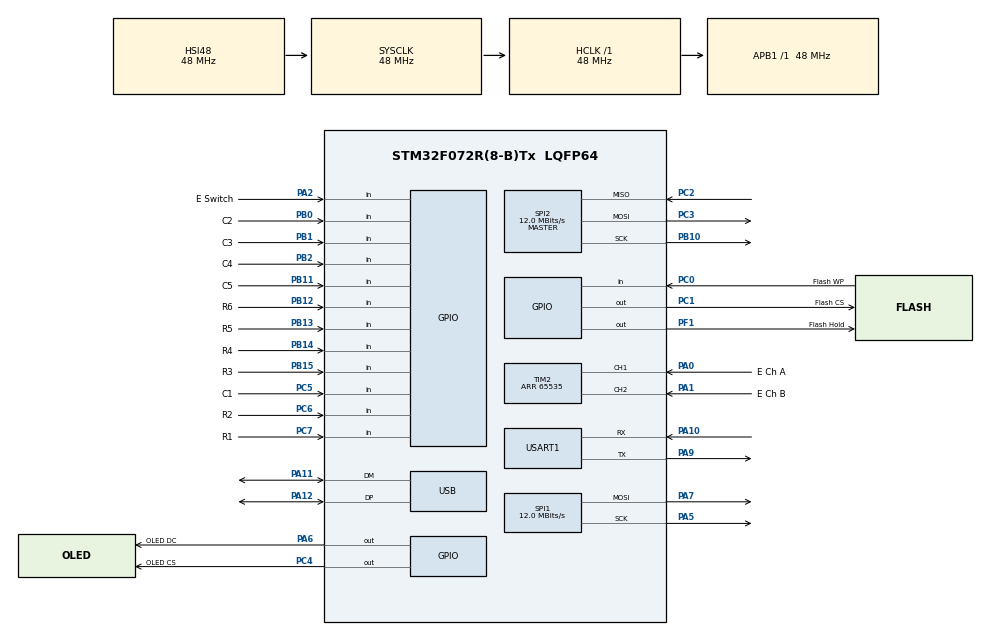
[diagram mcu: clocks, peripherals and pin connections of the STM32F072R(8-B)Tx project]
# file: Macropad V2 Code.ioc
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FREERTOS.Tasks01=defaultTask,24,128,StartDefaultTask,Default,NULL,Dynamic,NULL,NULL;KeypadCheck,8,128,StartKeypadCheck,Default,NULL,Dynamic,NULL,NULL
FREERTOS.configUSE_NEWLIB_REENTRANT=0
Mcu.Family=STM32F0
Mcu.Name=STM32F072R(8-B)Tx
Mcu.Package=LQFP64
NVIC.TIM3_IRQn=true\:3\:0\:false\:false\:true\:false\:false\:true\:true
NVIC.TimeBase=TIM3_IRQn
NVIC.TimeBaseIP=TIM3
NVIC.USB_IRQn=true\:3\:0\:false\:false\:true\:true\:false\:true\:true
PA0.GPIO_Label=E Ch A
PA0.Signal=S_TIM2_CH1_ETR
PA1.GPIO_Label=E Ch B
PA1.Signal=S_TIM2_CH2
PA10.Mode=Asynchronous
PA10.Signal=USART1_RX
PA11.Mode=Device
PA11.Signal=USB_DM
PA12.Mode=Device
PA12.Signal=USB_DP
PA13.Mode=Serial_Wire
PA13.Signal=SYS_SWDIO
PA14.Mode=Serial_Wire
PA14.Signal=SYS_SWCLK
PA2.GPIO_Label=E Switch
PA2.Signal=GPIO_Input
PA5.Mode=TX_Only_Simplex_Unidirect_Master
PA5.Signal=SPI1_SCK
PA6.GPIO_Label=OLED DC
PA6.Signal=GPIO_Output
PA7.Mode=TX_Only_Simplex_Unidirect_Master
PA7.Signal=SPI1_MOSI
PA9.Mode=Asynchronous
PA9.Signal=USART1_TX
PB0.GPIO_Label=C2
PB0.Signal=GPIO_Input
PB1.GPIO_Label=C3
PB1.Signal=GPIO_Input
PB10.Mode=Full_Duplex_Master
PB10.Signal=SPI2_SCK
PB11.GPIO_Label=C5
PB11.Signal=GPIO_Input
PB12.GPIO_Label=R6
PB12.Signal=GPIO_Input
PB13.GPIO_Label=R5
PB13.Signal=GPIO_Input
PB14.GPIO_Label=R4
PB14.Signal=GPIO_Input
PB15.GPIO_Label=R3
PB15.Signal=GPIO_Input
PB2.GPIO_Label=C4
PB2.Signal=GPIO_Input
PC0.GPIO_Label=Flash WP
PC0.Signal=GPIO_Input
PC1.GPIO_Label=Flash CS
PC1.Signal=GPIO_Output
PC2.Mode=Full_Duplex_Master
PC2.Signal=SPI2_MISO
PC3.Mode=Full_Duplex_Master
PC3.Signal=SPI2_MOSI
PC4.GPIO_Label=OLED CS
PC4.Signal=GPIO_Output
PC5.GPIO_Label=C1
PC5.Signal=GPIO_Input
PC6.GPIO_Label=R2
PC6.Signal=GPIO_Input
PC7.GPIO_Label=R1
PC7.Signal=GPIO_Input
PF1-OSC_OUT.GPIO_Label=Flash Hold
PF1-OSC_OUT.Signal=GPIO_Output
ProjectManager.HeapSize=0x200
ProjectManager.StackSize=0x400
ProjectManager.TargetToolchain=STM32CubeIDE
RCC.AHBFreq_Value=48000000
RCC.APB1Freq_Value=48000000
RCC.APB1TimFreq_Value=48000000
RCC.HCLKFreq_Value=48000000
RCC.SYSCLKFreq_VALUE=48000000
RCC.SYSCLKSource=RCC_SYSCLKSOURCE_HSI48
SH.S_TIM2_CH1_ETR.0=TIM2_CH1,Encoder_Interface
SH.S_TIM2_CH2.0=TIM2_CH2,Encoder_Interface
SPI1.BaudRatePrescaler=SPI_BAUDRATEPRESCALER_4
SPI1.CalculateBaudRate=12.0 MBits/s
SPI1.DataSize=SPI_DATASIZE_8BIT
SPI1.Direction=SPI_DIRECTION_2LINES
SPI1.Mode=SPI_MODE_MASTER
SPI1.VirtualType=VM_MASTER
SPI2.BaudRatePrescaler=SPI_BAUDRATEPRESCALER_4
SPI2.CalculateBaudRate=12.0 MBits/s
SPI2.DataSize=SPI_DATASIZE_8BIT
SPI2.Direction=SPI_DIRECTION_2LINES
SPI2.Mode=SPI_MODE_MASTER
SPI2.VirtualType=VM_MASTER
TIM2.AutoReloadPreload=TIM_AUTORELOAD_PRELOAD_ENABLE
TIM2.CounterMode=TIM_COUNTERMODE_UP
TIM2.EncoderMode=TIM_ENCODERMODE_TI12
TIM2.IC1Filter=10
TIM2.IC2Filter=10
TIM2.Period=65535
USART1.VirtualMode-Asynchronous=VM_ASYNC
USB_DEVICE.CLASS_NAME_FS=CUSTOM_HID
USB_DEVICE.USBD_CUSTOMHID_OUTREPORT_BUF_SIZE=64
USB_DEVICE.USBD_CUSTOM_HID_REPORT_DESC_SIZE=48
USB_DEVICE.VirtualMode=CustomHid
USB_DEVICE.VirtualModeFS=Custom_Hid_FS
VP_FREERTOS_VS_CMSIS_V2.Mode=CMSIS_V2
VP_SYS_VS_tim3.Mode=TIM3
VP_USB_DEVICE_VS_USB_DEVICE_CUSTOM_HID_FS.Mode=CUSTOM_HID_FS
board=custom

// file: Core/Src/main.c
/* USER CODE BEGIN Header */
/**
  ******************************************************************************
  * @file           : main.c
  * @brief          : Main program body
  ******************************************************************************
  * @attention
  *
  * Copyright (c) 2022 STMicroelectronics.
  * All rights reserved.
  *
  * This software is licensed under terms that can be found in the LICENSE file
  * in the root directory of this software component.
  * If no LICENSE file comes with this software, it is provided AS-IS.
  *
  ******************************************************************************
  */
/* USER CODE END Header */
#include "main.h"
#include "cmsis_os.h"
#include "usb_device.h"

/* USER CODE BEGIN Includes */
#include "NKRO_KEYPAD.h"
/* USER CODE END Includes */

SPI_HandleTypeDef hspi1;
SPI_HandleTypeDef hspi2;

TIM_HandleTypeDef htim2;

UART_HandleTypeDef huart1;

/* Definitions for defaultTask */
osThreadId_t defaultTaskHandle;
const osThreadAttr_t defaultTask_attributes = {
  .name = "defaultTask",
  .stack_size = 128 * 4,
  .priority = (osPriority_t) osPriorityNormal,
};
/* Definitions for KeypadCheck */
osThreadId_t KeypadCheckHandle;
const osThreadAttr_t KeypadCheck_attributes = {
  .name = "KeypadCheck",
  .stack_size = 128 * 4,
  .priority = (osPriority_t) osPriorityLow,
};
/* USER CODE BEGIN PV */
//Keypad Variable initialization
uint8_t main_key_states[(KEYPAD_ROWS*KEYPAD_COLS)+1] = {0};
uint32_t main_key_history[(KEYPAD_ROWS*KEYPAD_COLS)+1] = {0};
uint8_t main_key_last[(KEYPAD_ROWS*KEYPAD_COLS)+1] = {0};

/* USER CODE END PV */

void SystemClock_Config(void);
static void MX_GPIO_Init(void);
static void MX_SPI1_Init(void);
static void MX_SPI2_Init(void);
static void MX_USART1_UART_Init(void);
static void MX_TIM2_Init(void);
void StartDefaultTask(void *argument);
void StartKeypadCheck(void *argument);

/* USER CODE BEGIN PFP */
void SysTick_CallBack(void);
/* USER CODE END PFP */

int main(void)
{

  /* MCU Configuration--------------------------------------------------------*/

  /* Reset of all peripherals, Initializes the Flash interface and the Systick. */
  HAL_Init();

  /* USER CODE BEGIN Init */
  NKROKeypadInit(main_key_states, main_key_history, main_key_last);
  /* USER CODE END Init */

  /* Configure the system clock */
  SystemClock_Config();

  /* Initialize all configured peripherals */
  MX_GPIO_Init();
  MX_SPI1_Init();
  MX_SPI2_Init();
  MX_USART1_UART_Init();
  MX_TIM2_Init();

  /* Init scheduler */
  osKernelInitialize();

  /* Create the thread(s) */
  /* creation of defaultTask */
  defaultTaskHandle = osThreadNew(StartDefaultTask, NULL, &defaultTask_attributes);

  /* creation of KeypadCheck */
  KeypadCheckHandle = osThreadNew(StartKeypadCheck, NULL, &KeypadCheck_attributes);

  /* Start scheduler */
  osKernelStart();

  /* We should never get here as control is now taken by the scheduler */
  /* Infinite loop */
  while (1)
  {

  }
}

void SystemClock_Config(void)
{
  RCC_OscInitTypeDef RCC_OscInitStruct = {0};
  RCC_ClkInitTypeDef RCC_ClkInitStruct = {0};
  RCC_PeriphCLKInitTypeDef PeriphClkInit = {0};

  /** Initializes the RCC Oscillators according to the specified parameters
  * in the RCC_OscInitTypeDef structure.
  */
  RCC_OscInitStruct.OscillatorType = RCC_OSCILLATORTYPE_HSI48;
  RCC_OscInitStruct.HSI48State = RCC_HSI48_ON;
  RCC_OscInitStruct.PLL.PLLState = RCC_PLL_NONE;
  if (HAL_RCC_OscConfig(&RCC_OscInitStruct) != HAL_OK)
  {
    Error_Handler();
  }

  /** Initializes the CPU, AHB and APB buses clocks
  */
  RCC_ClkInitStruct.ClockType = RCC_CLOCKTYPE_HCLK|RCC_CLOCKTYPE_SYSCLK
                              |RCC_CLOCKTYPE_PCLK1;
  RCC_ClkInitStruct.SYSCLKSource = RCC_SYSCLKSOURCE_HSI48;
  RCC_ClkInitStruct.AHBCLKDivider = RCC_SYSCLK_DIV1;
  RCC_ClkInitStruct.APB1CLKDivider = RCC_HCLK_DIV1;

  if (HAL_RCC_ClockConfig(&RCC_ClkInitStruct, FLASH_LATENCY_1) != HAL_OK)
  {
    Error_Handler();
  }
  PeriphClkInit.PeriphClockSelection = RCC_PERIPHCLK_USB|RCC_PERIPHCLK_USART1;
  PeriphClkInit.Usart1ClockSelection = RCC_USART1CLKSOURCE_PCLK1;
  PeriphClkInit.UsbClockSelection = RCC_USBCLKSOURCE_HSI48;

  if (HAL_RCCEx_PeriphCLKConfig(&PeriphClkInit) != HAL_OK)
  {
    Error_Handler();
  }
}

static void MX_SPI1_Init(void)
{

  /* SPI1 parameter configuration*/
  hspi1.Instance = SPI1;
  hspi1.Init.Mode = SPI_MODE_MASTER;
  hspi1.Init.Direction = SPI_DIRECTION_2LINES;
  hspi1.Init.DataSize = SPI_DATASIZE_8BIT;
  hspi1.Init.CLKPolarity = SPI_POLARITY_LOW;
  hspi1.Init.CLKPhase = SPI_PHASE_1EDGE;
  hspi1.Init.NSS = SPI_NSS_SOFT;
  hspi1.Init.BaudRatePrescaler = SPI_BAUDRATEPRESCALER_4;
  hspi1.Init.FirstBit = SPI_FIRSTBIT_MSB;
  hspi1.Init.TIMode = SPI_TIMODE_DISABLE;
  hspi1.Init.CRCCalculation = SPI_CRCCALCULATION_DISABLE;
  hspi1.Init.CRCPolynomial = 7;
  hspi1.Init.CRCLength = SPI_CRC_LENGTH_DATASIZE;
  hspi1.Init.NSSPMode = SPI_NSS_PULSE_ENABLE;
  if (HAL_SPI_Init(&hspi1) != HAL_OK)
  {
    Error_Handler();
  }

}

static void MX_SPI2_Init(void)
{

  /* SPI2 parameter configuration*/
  hspi2.Instance = SPI2;
  hspi2.Init.Mode = SPI_MODE_MASTER;
  hspi2.Init.Direction = SPI_DIRECTION_2LINES;
  hspi2.Init.DataSize = SPI_DATASIZE_8BIT;
  hspi2.Init.CLKPolarity = SPI_POLARITY_LOW;
  hspi2.Init.CLKPhase = SPI_PHASE_1EDGE;
  hspi2.Init.NSS = SPI_NSS_SOFT;
  hspi2.Init.BaudRatePrescaler = SPI_BAUDRATEPRESCALER_4;
  hspi2.Init.FirstBit = SPI_FIRSTBIT_MSB;
  hspi2.Init.TIMode = SPI_TIMODE_DISABLE;
  hspi2.Init.CRCCalculation = SPI_CRCCALCULATION_DISABLE;
  hspi2.Init.CRCPolynomial = 7;
  hspi2.Init.CRCLength = SPI_CRC_LENGTH_DATASIZE;
  hspi2.Init.NSSPMode = SPI_NSS_PULSE_ENABLE;
  if (HAL_SPI_Init(&hspi2) != HAL_OK)
  {
    Error_Handler();
  }

}

static void MX_TIM2_Init(void)
{

  TIM_Encoder_InitTypeDef sConfig = {0};
  TIM_MasterConfigTypeDef sMasterConfig = {0};

  htim2.Instance = TIM2;
  htim2.Init.Prescaler = 0;
  htim2.Init.CounterMode = TIM_COUNTERMODE_UP;
  htim2.Init.Period = 65535;
  htim2.Init.ClockDivision = TIM_CLOCKDIVISION_DIV1;
  htim2.Init.AutoReloadPreload = TIM_AUTORELOAD_PRELOAD_ENABLE;
  sConfig.EncoderMode = TIM_ENCODERMODE_TI12;
  sConfig.IC1Polarity = TIM_ICPOLARITY_RISING;
  sConfig.IC1Selection = TIM_ICSELECTION_DIRECTTI;
  sConfig.IC1Prescaler = TIM_ICPSC_DIV1;
  sConfig.IC1Filter = 10;
  sConfig.IC2Polarity = TIM_ICPOLARITY_RISING;
  sConfig.IC2Selection = TIM_ICSELECTION_DIRECTTI;
  sConfig.IC2Prescaler = TIM_ICPSC_DIV1;
  sConfig.IC2Filter = 10;
  if (HAL_TIM_Encoder_Init(&htim2, &sConfig) != HAL_OK)
  {
    Error_Handler();
  }
  sMasterConfig.MasterOutputTrigger = TIM_TRGO_RESET;
  sMasterConfig.MasterSlaveMode = TIM_MASTERSLAVEMODE_DISABLE;
  if (HAL_TIMEx_MasterConfigSynchronization(&htim2, &sMasterConfig) != HAL_OK)
  {
    Error_Handler();
  }

}

static void MX_USART1_UART_Init(void)
{

  huart1.Instance = USART1;
  huart1.Init.BaudRate = 38400;
  huart1.Init.WordLength = UART_WORDLENGTH_8B;
  huart1.Init.StopBits = UART_STOPBITS_1;
  huart1.Init.Parity = UART_PARITY_NONE;
  huart1.Init.Mode = UART_MODE_TX_RX;
  huart1.Init.HwFlowCtl = UART_HWCONTROL_NONE;
  huart1.Init.OverSampling = UART_OVERSAMPLING_16;
  huart1.Init.OneBitSampling = UART_ONE_BIT_SAMPLE_DISABLE;
  huart1.AdvancedInit.AdvFeatureInit = UART_ADVFEATURE_NO_INIT;
  if (HAL_UART_Init(&huart1) != HAL_OK)
  {
    Error_Handler();
  }

}

static void MX_GPIO_Init(void)
{
  GPIO_InitTypeDef GPIO_InitStruct = {0};

  /* GPIO Ports Clock Enable */
  __HAL_RCC_GPIOF_CLK_ENABLE();
  __HAL_RCC_GPIOC_CLK_ENABLE();
  __HAL_RCC_GPIOA_CLK_ENABLE();
  __HAL_RCC_GPIOB_CLK_ENABLE();

  /*Configure GPIO pin Output Level */
  HAL_GPIO_WritePin(Flash_Hold_GPIO_Port, Flash_Hold_Pin, GPIO_PIN_RESET);

  /*Configure GPIO pin Output Level */
  HAL_GPIO_WritePin(GPIOC, Flash_CS_Pin|OLED_CS_Pin, GPIO_PIN_RESET);

  /*Configure GPIO pin Output Level */
  HAL_GPIO_WritePin(OLED_DC_GPIO_Port, OLED_DC_Pin, GPIO_PIN_RESET);

  /*Configure GPIO pin : Flash_Hold_Pin */
  GPIO_InitStruct.Pin = Flash_Hold_Pin;
  GPIO_InitStruct.Mode = GPIO_MODE_OUTPUT_PP;
  GPIO_InitStruct.Pull = GPIO_NOPULL;
  GPIO_InitStruct.Speed = GPIO_SPEED_FREQ_LOW;
  HAL_GPIO_Init(Flash_Hold_GPIO_Port, &GPIO_InitStruct);

  /*Configure GPIO pins : Flash_WP_Pin C1_Pin R2_Pin R1_Pin */
  GPIO_InitStruct.Pin = Flash_WP_Pin|C1_Pin|R2_Pin|R1_Pin;
  GPIO_InitStruct.Mode = GPIO_MODE_INPUT;
  GPIO_InitStruct.Pull = GPIO_NOPULL;
  HAL_GPIO_Init(GPIOC, &GPIO_InitStruct);

  /*Configure GPIO pins : Flash_CS_Pin OLED_CS_Pin */
  GPIO_InitStruct.Pin = Flash_CS_Pin|OLED_CS_Pin;
  GPIO_InitStruct.Mode = GPIO_MODE_OUTPUT_PP;
  GPIO_InitStruct.Pull = GPIO_NOPULL;
  GPIO_InitStruct.Speed = GPIO_SPEED_FREQ_LOW;
  HAL_GPIO_Init(GPIOC, &GPIO_InitStruct);

  /*Configure GPIO pin : E_Switch_Pin */
  GPIO_InitStruct.Pin = E_Switch_Pin;
  GPIO_InitStruct.Mode = GPIO_MODE_INPUT;
  GPIO_InitStruct.Pull = GPIO_NOPULL;
  HAL_GPIO_Init(E_Switch_GPIO_Port, &GPIO_InitStruct);

  /*Configure GPIO pin : OLED_DC_Pin */
  GPIO_InitStruct.Pin = OLED_DC_Pin;
  GPIO_InitStruct.Mode = GPIO_MODE_OUTPUT_PP;
  GPIO_InitStruct.Pull = GPIO_NOPULL;
  GPIO_InitStruct.Speed = GPIO_SPEED_FREQ_LOW;
  HAL_GPIO_Init(OLED_DC_GPIO_Port, &GPIO_InitStruct);

  /*Configure GPIO pins : C2_Pin C3_Pin C4_Pin C5_Pin
                           R6_Pin R5_Pin R4_Pin R3_Pin */
  GPIO_InitStruct.Pin = C2_Pin|C3_Pin|C4_Pin|C5_Pin
                          |R6_Pin|R5_Pin|R4_Pin|R3_Pin;
  GPIO_InitStruct.Mode = GPIO_MODE_INPUT;
  GPIO_InitStruct.Pull = GPIO_NOPULL;
  HAL_GPIO_Init(GPIOB, &GPIO_InitStruct);

}

void StartDefaultTask(void *argument)
{
  /* init code for USB_DEVICE */
  MX_USB_DEVICE_Init();
  for(;;)
  {
    osDelay(1);
  }
}

void StartKeypadCheck(void *argument)
{
  /* USER CODE BEGIN StartKeypadCheck */
  /* Infinite loop */
  uint32_t old_encoder = TIM2->CNT;
  uint32_t curr_encoder = 0;
  int8_t encoder_change = 0;
  for(;;)
  {
	  if(NKROKeypadScan()){
		NKROKeypadPressReleaseCheck();
		curr_encoder = TIM2->CNT;
		encoder_change = curr_encoder-old_encoder;
		old_encoder = curr_encoder;
		//need to add functionality for adding the encoder value into the usb hid packet
		//The hid report descriptor uses relative, so encoder_change is the value needed in the packet
		USBD_CUSTOM_HID_SendReport(&hUsbDeviceFS, &main_key_states, sizeof(main_key_states));
	  }
  }
  /* USER CODE END StartKeypadCheck */
}

void HAL_TIM_PeriodElapsedCallback(TIM_HandleTypeDef *htim)
{
  if (htim->Instance == TIM3) {
    HAL_IncTick();
  }
}

void Error_Handler(void)
{
  __disable_irq();
  while (1)
  {
  }
}
